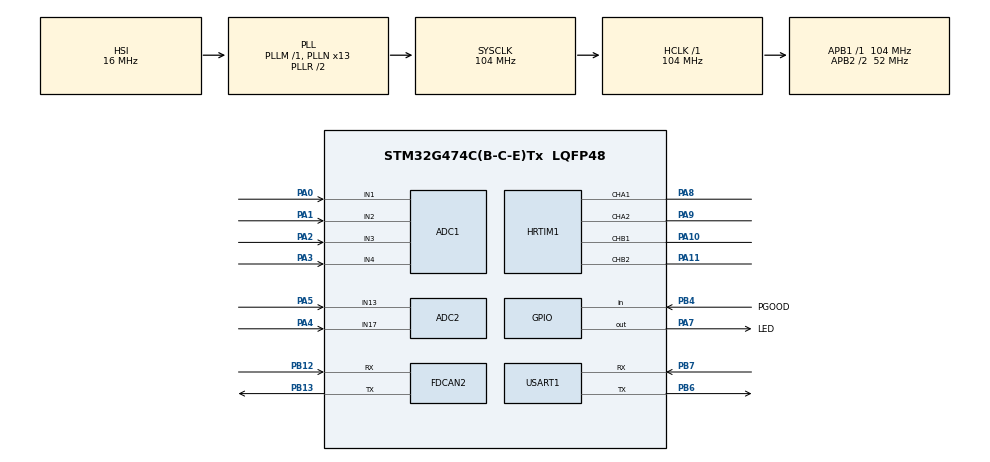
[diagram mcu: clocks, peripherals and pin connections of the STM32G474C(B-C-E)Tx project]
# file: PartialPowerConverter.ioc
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ADC1.Channel-0\#ChannelRegularConversion=ADC_CHANNEL_1
ADC1.Channel-1\#ChannelRegularConversion=ADC_CHANNEL_2
ADC1.Channel-2\#ChannelRegularConversion=ADC_CHANNEL_3
ADC1.Channel-3\#ChannelRegularConversion=ADC_CHANNEL_4
ADC1.Channel-4\#ChannelRegularConversion=ADC_CHANNEL_VREFINT
ADC1.ContinuousConvMode=DISABLE
ADC1.DMAContinuousRequests=ENABLE
ADC1.ExternalTrigConv=ADC_EXTERNALTRIG_T2_TRGO
ADC1.NbrOfConversion=5
ADC1.NbrOfConversionFlag=1
ADC1.OffsetNumber-0\#ChannelRegularConversion=ADC_OFFSET_NONE
ADC1.OffsetNumber-1\#ChannelRegularConversion=ADC_OFFSET_NONE
ADC1.OffsetNumber-2\#ChannelRegularConversion=ADC_OFFSET_NONE
ADC1.OffsetNumber-3\#ChannelRegularConversion=ADC_OFFSET_NONE
ADC1.OffsetNumber-4\#ChannelRegularConversion=ADC_OFFSET_NONE
ADC1.Rank-0\#ChannelRegularConversion=1
ADC1.Rank-1\#ChannelRegularConversion=2
ADC1.Rank-2\#ChannelRegularConversion=3
ADC1.Rank-3\#ChannelRegularConversion=4
ADC1.Rank-4\#ChannelRegularConversion=5
ADC1.SamplingTime-0\#ChannelRegularConversion=ADC_SAMPLETIME_247CYCLES_5
ADC1.SamplingTime-1\#ChannelRegularConversion=ADC_SAMPLETIME_247CYCLES_5
ADC1.SamplingTime-2\#ChannelRegularConversion=ADC_SAMPLETIME_247CYCLES_5
ADC1.SamplingTime-3\#ChannelRegularConversion=ADC_SAMPLETIME_247CYCLES_5
ADC1.SamplingTime-4\#ChannelRegularConversion=ADC_SAMPLETIME_247CYCLES_5
ADC1.master=1
ADC2.Channel-0\#ChannelRegularConversion=ADC_CHANNEL_17
ADC2.Channel-1\#ChannelRegularConversion=ADC_CHANNEL_13
ADC2.ContinuousConvMode=DISABLE
ADC2.DMAContinuousRequests=ENABLE
ADC2.ExternalTrigConv=ADC_EXTERNALTRIG_T2_TRGO
ADC2.NbrOfConversion=2
ADC2.NbrOfConversionFlag=1
ADC2.OffsetNumber-0\#ChannelRegularConversion=ADC_OFFSET_NONE
ADC2.OffsetNumber-1\#ChannelRegularConversion=ADC_OFFSET_NONE
ADC2.Rank-0\#ChannelRegularConversion=1
ADC2.Rank-1\#ChannelRegularConversion=2
ADC2.SamplingTime-0\#ChannelRegularConversion=ADC_SAMPLETIME_247CYCLES_5
ADC2.SamplingTime-1\#ChannelRegularConversion=ADC_SAMPLETIME_247CYCLES_5
Dma.ADC1.0.Direction=DMA_PERIPH_TO_MEMORY
Dma.ADC1.0.EventEnable=DISABLE
Dma.ADC1.0.Instance=DMA1_Channel1
Dma.ADC1.0.MemDataAlignment=DMA_MDATAALIGN_HALFWORD
Dma.ADC1.0.MemInc=DMA_MINC_ENABLE
Dma.ADC1.0.Mode=DMA_CIRCULAR
Dma.ADC1.0.PeriphDataAlignment=DMA_PDATAALIGN_HALFWORD
Dma.ADC1.0.PeriphInc=DMA_PINC_DISABLE
Dma.ADC1.0.Polarity=HAL_DMAMUX_REQ_GEN_RISING
Dma.ADC1.0.Priority=DMA_PRIORITY_LOW
Dma.ADC1.0.RequestNumber=1
Dma.ADC1.0.SignalID=NONE
Dma.ADC1.0.SyncEnable=DISABLE
Dma.ADC1.0.SyncPolarity=HAL_DMAMUX_SYNC_NO_EVENT
Dma.ADC1.0.SyncRequestNumber=1
Dma.ADC1.0.SyncSignalID=NONE
Dma.ADC2.1.Direction=DMA_PERIPH_TO_MEMORY
Dma.ADC2.1.EventEnable=DISABLE
Dma.ADC2.1.Instance=DMA1_Channel2
Dma.ADC2.1.MemDataAlignment=DMA_MDATAALIGN_HALFWORD
Dma.ADC2.1.MemInc=DMA_MINC_ENABLE
Dma.ADC2.1.Mode=DMA_CIRCULAR
Dma.ADC2.1.PeriphDataAlignment=DMA_PDATAALIGN_HALFWORD
Dma.ADC2.1.PeriphInc=DMA_PINC_DISABLE
Dma.ADC2.1.Polarity=HAL_DMAMUX_REQ_GEN_RISING
Dma.ADC2.1.Priority=DMA_PRIORITY_LOW
Dma.ADC2.1.RequestNumber=1
Dma.ADC2.1.SignalID=NONE
Dma.ADC2.1.SyncEnable=DISABLE
Dma.ADC2.1.SyncPolarity=HAL_DMAMUX_SYNC_NO_EVENT
Dma.ADC2.1.SyncRequestNumber=1
Dma.ADC2.1.SyncSignalID=NONE
Dma.Request0=ADC1
Dma.Request1=ADC2
FDCAN2.CalculateBaudRateNominal=500000
FDCAN2.CalculateTimeBitNominal=2000
FDCAN2.CalculateTimeQuantumNominal=500.0
FDCAN2.NominalPrescaler=52
FDCAN2.NominalTimeSeg1=2
FDCAN2.StdFiltersNbr=1
HRTIM1.CompareUnit1-MasterTimer=HRTIM_COMPAREUNIT_1
HRTIM1.CompareUnit1-Output_TA1TA2=HRTIM_COMPAREUNIT_1
HRTIM1.CompareUnit1-Output_TB1TB2=HRTIM_COMPAREUNIT_1
HRTIM1.CompareUnit2-MasterTimer=HRTIM_COMPAREUNIT_2
HRTIM1.CompareValue1-MasterTimer=0xFFDF
HRTIM1.CompareValue2-MasterTimer=0xFFDF
HRTIM1.Configuration_TA=Waveform
HRTIM1.DeadTimeInsertion-Output_TA1TA2=HRTIM_TIMDEADTIMEINSERTION_ENABLED
HRTIM1.DeadTimeInsertion-Output_TB1TB2=HRTIM_TIMDEADTIMEINSERTION_ENABLED
HRTIM1.FallingValue-Output_TA1TA2=90
HRTIM1.FallingValue-Output_TB1TB2=70
HRTIM1.InterleavedMode-Output_TA1TA2=HRTIM_INTERLEAVED_MODE_DUAL
HRTIM1.InterleavedMode-Output_TB1TB2=HRTIM_INTERLEAVED_MODE_DUAL
HRTIM1.NumberResetSource1-Output_TA1TA2=1
HRTIM1.NumberResetSource1-Output_TB1TB2=1
HRTIM1.NumberResetTrigger-Output_TA1TA2=1
HRTIM1.NumberResetTrigger-Output_TB1TB2=1
HRTIM1.NumberSetSource1-Output_TA1TA2=1
HRTIM1.NumberSetSource1-Output_TB1TB2=1
HRTIM1.Periode_MASTER=0x8200
HRTIM1.Periode_TA=0x8200
HRTIM1.Periode_TB=0x8200
HRTIM1.PrescalerRatio_MASTER=HRTIM_PRESCALERRATIO_MUL16
HRTIM1.PrescalerRatio_TA=HRTIM_PRESCALERRATIO_MUL16
HRTIM1.PrescalerRatio_TB=HRTIM_PRESCALERRATIO_MUL16
HRTIM1.ResetOutput1_Source1-Output_TA1TA2=HRTIM_OUTPUTRESET_TIMCMP1
HRTIM1.ResetOutput1_Source1-Output_TB1TB2=HRTIM_OUTPUTRESET_TIMCMP1
HRTIM1.ResetTrigger1-Output_TA1TA2=HRTIM_TIMRESETTRIGGER_MASTER_CMP1
HRTIM1.ResetTrigger1-Output_TB1TB2=HRTIM_TIMRESETTRIGGER_MASTER_CMP2
HRTIM1.RisingValue-Output_TA1TA2=90
HRTIM1.RisingValue-Output_TB1TB2=70
HRTIM1.SetOutput1_Source1-Output_TA1TA2=HRTIM_OUTPUTSET_MASTERCMP1
HRTIM1.SetOutput1_Source1-Output_TB1TB2=HRTIM_OUTPUTSET_MASTERCMP2
Mcu.Family=STM32G4
Mcu.Name=STM32G474C(B-C-E)Tx
Mcu.Package=LQFP48
NVIC.DMA1_Channel1_IRQn=true\:0\:0\:false\:false\:true\:false\:true\:true
NVIC.DMA1_Channel2_IRQn=true\:0\:0\:false\:false\:true\:false\:true\:true
NVIC.FDCAN2_IT0_IRQn=true\:0\:0\:false\:false\:true\:true\:true\:true
NVIC.PriorityGroup=NVIC_PRIORITYGROUP_4
PA0.Mode=IN1-Single-Ended
PA0.Signal=ADC1_IN1
PA1.Mode=IN2-Single-Ended
PA1.Signal=ADC1_IN2
PA10.Mode=Output_TB1TB2
PA10.Signal=HRTIM1_CHB1
PA11.Mode=Output_TB1TB2
PA11.Signal=HRTIM1_CHB2
PA2.Mode=IN3-Single-Ended
PA2.Signal=ADC1_IN3
PA3.Mode=IN4-Single-Ended
PA3.Signal=ADC1_IN4
PA4.Mode=IN17-Single-Ended
PA4.Signal=ADC2_IN17
PA5.Mode=IN13-Single-Ended
PA5.Signal=ADC2_IN13
PA7.GPIO_Label=LED
PA7.Signal=GPIO_Output
PA8.Mode=Output_TA1TA2
PA8.Signal=HRTIM1_CHA1
PA9.Mode=Output_TA1TA2
PA9.Signal=HRTIM1_CHA2
PB12.GPIO_PuPd=GPIO_PULLUP
PB12.Mode=FDCAN_Activate
PB12.Signal=FDCAN2_RX
PB13.Mode=FDCAN_Activate
PB13.Signal=FDCAN2_TX
PB4.GPIO_Label=PGOOD
PB4.Signal=GPIO_Input
PB6.Mode=Asynchronous
PB6.Signal=USART1_TX
PB7.Mode=Asynchronous
PB7.Signal=USART1_RX
ProjectManager.HeapSize=0x200
ProjectManager.StackSize=0x400
ProjectManager.TargetToolchain=STM32CubeIDE
RCC.ADC12Freq_Value=104000000
RCC.ADC345Freq_Value=104000000
RCC.AHBFreq_Value=104000000
RCC.APB1Freq_Value=104000000
RCC.APB1TimFreq_Value=104000000
RCC.APB2CLKDivider=RCC_HCLK_DIV2
RCC.APB2Freq_Value=52000000
RCC.APB2TimFreq_Value=104000000
RCC.CortexFreq_Value=104000000
RCC.EXTERNAL_CLOCK_VALUE=12288000
RCC.HCLKFreq_Value=104000000
RCC.HSE_VALUE=8000000
RCC.HSI48_VALUE=48000000
RCC.HSI_VALUE=16000000
RCC.LSE_VALUE=32768
RCC.PLLN=13
RCC.SYSCLKFreq_VALUE=104000000
RCC.SYSCLKSource=RCC_SYSCLKSOURCE_PLLCLK
RCC.USBFreq_Value=104000000
RCC.VCOOutputFreq_Value=208000000
TIM2.AutoReloadPreload=TIM_AUTORELOAD_PRELOAD_ENABLE
TIM2.PeriodNoDither=104000
TIM2.TIM_MasterOutputTrigger=TIM_TRGO_UPDATE
USART1.VirtualMode-Asynchronous=VM_ASYNC
VP_ADC1_Vref_Input.Mode=IN-Vrefint
VP_HRTIM1_VS_hrtimMasterTimerNoOutput.Mode=MasterTimer
VP_SYS_VS_DBSignals.Mode=DisableDeadBatterySignals
VP_TIM2_VS_ClockSourceINT.Mode=Internal
board=custom

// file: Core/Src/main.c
/* USER CODE BEGIN Header */
/**
  ******************************************************************************
  * @file           : main.c
  * @brief          : Main program body
  ******************************************************************************
  * @attention
  *
  * Copyright (c) 2026 STMicroelectronics.
  * All rights reserved.
  *
  * This software is licensed under terms that can be found in the LICENSE file
  * in the root directory of this software component.
  * If no LICENSE file comes with this software, it is provided AS-IS.
  *
  ******************************************************************************
  */
/* USER CODE END Header */
#include "main.h"

/* USER CODE BEGIN Includes */
#include "PID.h"
#include <stdlib.h>
/* USER CODE END Includes */

/* USER CODE BEGIN PTD */
typedef enum
{
	IDLE,
	STABLE,
	RAMP,
	CHARGING,
	DISCHARGING,
	ERROR_PPC
} States;

typedef struct
{
	float Vbat;
	float Vbus;
	float Ibus;
	float Ibat;
} Measures;

typedef struct {
    float alpha;
    float y_prev;
} Butterworth1stOrder;

typedef union
{
    float f;
    uint8_t b[4];
} FloatBytes;

/* USER CODE END PTD */

/* USER CODE BEGIN PD */
#define VREFINT_CAL_ADDR   ((uint16_t*) ((uint32_t)0x1FFF75AA))
#define Vref_CAL *VREFINT_CAL_ADDR

const int16_t MAX_PHASE = 8300;
const int16_t MIN_PHASE = -8300;

const float VBAT_MAX = 14;
const float VBAT_MIN = 10;
const float IBAT_MAX = 3;
const float VBUS_MAX = 29;
const float IBUS_MAX = 3;

/* USER CODE END PD */

ADC_HandleTypeDef hadc1;
ADC_HandleTypeDef hadc2;
DMA_HandleTypeDef hdma_adc1;
DMA_HandleTypeDef hdma_adc2;

FDCAN_HandleTypeDef hfdcan2;

HRTIM_HandleTypeDef hhrtim1;

TIM_HandleTypeDef htim2;

UART_HandleTypeDef huart1;

/* USER CODE BEGIN PV */
uint16_t AD_RES_BUFFER[5];
uint16_t AD_RES_REF[2];
float Vref = 0;
float Vref1 = 0;
float Vref2 = 0;
float phase_f;
int phase_i = 0;
float Vbus_Setpoint = 22;
int vbatStable =  0;
int vbusStable =  0;
float Pbat = 0;
float Pbus = 0;
float eta = 0;
float Ppri = 0;
float Psec = 0;
float eta_conv = 0;

Measures meas;
PID pid = {500, 50000, 0, 0, 0, 0.0001, MAX_PHASE, MIN_PHASE, 0, 0, 0, 0, 0};

static States currentState = IDLE;
Butterworth1stOrder vbat_filter = {0.0591, 12};
Butterworth1stOrder vbus_filter = {0.0591, 22};
Butterworth1stOrder Pbus_filter = {0.0591, 8};
Butterworth1stOrder Pbat_filter = {0.0591, 8};
Butterworth1stOrder Ppri_filter = {0.0591, 8};
Butterworth1stOrder Psec_filter = {0.0591, 8};

FDCAN_TxHeaderTypeDef   TxHeader;
FDCAN_RxHeaderTypeDef   RxHeader;
uint8_t TxData[4];
uint8_t RxData[12];

/* USER CODE END PV */

void SystemClock_Config(void);
static void MX_GPIO_Init(void);
static void MX_DMA_Init(void);
static void MX_ADC1_Init(void);
static void MX_ADC2_Init(void);
static void MX_FDCAN2_Init(void);
static void MX_HRTIM1_Init(void);
static void MX_USART1_UART_Init(void);
static void MX_TIM2_Init(void);
/* USER CODE BEGIN PFP */
void Error_PPC();
void changeState(States newState);
void enterRamp();
void enterCharging();
void enterDischarging();
static void FDCAN_Config();
/* USER CODE END PFP */

int main(void)
{

  /* MCU Configuration--------------------------------------------------------*/

  /* Reset of all peripherals, Initializes the Flash interface and the Systick. */
  HAL_Init();

  /* Configure the system clock */
  SystemClock_Config();

  /* Initialize all configured peripherals */
  MX_GPIO_Init();
  MX_DMA_Init();
  MX_ADC1_Init();
  MX_ADC2_Init();
  MX_FDCAN2_Init();
  MX_HRTIM1_Init();
  MX_USART1_UART_Init();
  MX_TIM2_Init();
  /* USER CODE BEGIN 2 */

	//Start TIM2 that will trigger ADC
	HAL_TIM_Base_Start(&htim2);

	//ADC calibration function
	HAL_ADCEx_Calibration_Start(&hadc2, ADC_SINGLE_ENDED);
	HAL_ADCEx_Calibration_Start(&hadc1, ADC_SINGLE_ENDED);

	//Starts DMA for ADC conversions
	HAL_ADC_Start_DMA(&hadc2, (uint32_t*)AD_RES_REF, 2);
	HAL_ADC_Start_DMA(&hadc1, (uint32_t*)AD_RES_BUFFER, 5);

  	  //Init timers counter period to run the PWMs at a frequency of 50kHz
	__HAL_HRTIM_SETPERIOD(&hhrtim1, HRTIM_TIMERINDEX_MASTER, 33280);
	__HAL_HRTIM_SETPERIOD(&hhrtim1, HRTIM_TIMERINDEX_TIMER_A, 33280);
	__HAL_HRTIM_SETPERIOD(&hhrtim1, HRTIM_TIMERINDEX_TIMER_B, 33280);

	//Set compare values for PWM
	__HAL_HRTIM_SETCOMPARE( &hhrtim1, HRTIM_TIMERINDEX_MASTER, HRTIM_COMPAREUNIT_1, 8320);
	__HAL_HRTIM_SETCOMPARE( &hhrtim1, HRTIM_TIMERINDEX_MASTER, HRTIM_COMPAREUNIT_2, 8320);

  /* USER CODE END 2 */

  /* Infinite loop */
  /* USER CODE BEGIN WHILE */
  while (1)
  {
	  switch(currentState)
	  {
	  	  case IDLE:
	  		  if(meas.Vbat < VBAT_MAX && meas.Vbat > VBAT_MIN)
	  		  {
	  			  ++vbatStable;
	  		  }
	  		  if(vbatStable >= 30)
	  		  {
	  			  changeState(STABLE);
	  		  }
	  		  break;

	  	  case STABLE:
				  if(meas.Vbus < VBUS_MAX && meas.Vbus > meas.Vbat)
				  {
					  ++vbusStable;
				  }
				  if(vbusStable >= 30)
				  {
					  changeState(RAMP);
				  }
				  break;
	  	  case RAMP:
	  		  if(Vbus_Setpoint < 24)
	  		  {
	  			Vbus_Setpoint += 0.1;
	  		  }
	  		  else
	  		  {
	  			  if(meas.Ibat < 0) changeState(DISCHARGING);
	  			  else changeState(CHARGING);
	  		  }
	  		  break;
	  	  case CHARGING:
	  		if(meas.Ibat < 0) changeState(DISCHARGING);
	  		  break;
	  	  case DISCHARGING:
	  		if(meas.Ibat > 0) changeState(CHARGING);
	  		  break;
	  	  default:
	  		  break;
	  }
	  HAL_Delay(100);
    /* USER CODE END WHILE */

  }
}

void SystemClock_Config(void)
{
  RCC_OscInitTypeDef RCC_OscInitStruct = {0};
  RCC_ClkInitTypeDef RCC_ClkInitStruct = {0};

  /** Configure the main internal regulator output voltage
  */
  HAL_PWREx_ControlVoltageScaling(PWR_REGULATOR_VOLTAGE_SCALE1);

  /** Initializes the RCC Oscillators according to the specified parameters
  * in the RCC_OscInitTypeDef structure.
  */
  RCC_OscInitStruct.OscillatorType = RCC_OSCILLATORTYPE_HSI;
  RCC_OscInitStruct.HSIState = RCC_HSI_ON;
  RCC_OscInitStruct.HSICalibrationValue = RCC_HSICALIBRATION_DEFAULT;
  RCC_OscInitStruct.PLL.PLLState = RCC_PLL_ON;
  RCC_OscInitStruct.PLL.PLLSource = RCC_PLLSOURCE_HSI;
  RCC_OscInitStruct.PLL.PLLM = RCC_PLLM_DIV1;
  RCC_OscInitStruct.PLL.PLLN = 13;
  RCC_OscInitStruct.PLL.PLLP = RCC_PLLP_DIV2;
  RCC_OscInitStruct.PLL.PLLQ = RCC_PLLQ_DIV2;
  RCC_OscInitStruct.PLL.PLLR = RCC_PLLR_DIV2;
  if (HAL_RCC_OscConfig(&RCC_OscInitStruct) != HAL_OK)
  {
    Error_Handler();
  }

  /** Initializes the CPU, AHB and APB buses clocks
  */
  RCC_ClkInitStruct.ClockType = RCC_CLOCKTYPE_HCLK|RCC_CLOCKTYPE_SYSCLK
                              |RCC_CLOCKTYPE_PCLK1|RCC_CLOCKTYPE_PCLK2;
  RCC_ClkInitStruct.SYSCLKSource = RCC_SYSCLKSOURCE_PLLCLK;
  RCC_ClkInitStruct.AHBCLKDivider = RCC_SYSCLK_DIV1;
  RCC_ClkInitStruct.APB1CLKDivider = RCC_HCLK_DIV1;
  RCC_ClkInitStruct.APB2CLKDivider = RCC_HCLK_DIV2;

  if (HAL_RCC_ClockConfig(&RCC_ClkInitStruct, FLASH_LATENCY_3) != HAL_OK)
  {
    Error_Handler();
  }
}

static void MX_ADC1_Init(void)
{

  ADC_MultiModeTypeDef multimode = {0};
  ADC_ChannelConfTypeDef sConfig = {0};

  /** Common config
  */
  hadc1.Instance = ADC1;
  hadc1.Init.ClockPrescaler = ADC_CLOCK_SYNC_PCLK_DIV2;
  hadc1.Init.Resolution = ADC_RESOLUTION_12B;
  hadc1.Init.DataAlign = ADC_DATAALIGN_RIGHT;
  hadc1.Init.GainCompensation = 0;
  hadc1.Init.ScanConvMode = ADC_SCAN_ENABLE;
  hadc1.Init.EOCSelection = ADC_EOC_SINGLE_CONV;
  hadc1.Init.LowPowerAutoWait = DISABLE;
  hadc1.Init.ContinuousConvMode = DISABLE;
  hadc1.Init.NbrOfConversion = 5;
  hadc1.Init.DiscontinuousConvMode = DISABLE;
  hadc1.Init.ExternalTrigConv = ADC_EXTERNALTRIG_T2_TRGO;
  hadc1.Init.ExternalTrigConvEdge = ADC_EXTERNALTRIGCONVEDGE_RISING;
  hadc1.Init.DMAContinuousRequests = ENABLE;
  hadc1.Init.Overrun = ADC_OVR_DATA_PRESERVED;
  hadc1.Init.OversamplingMode = DISABLE;
  if (HAL_ADC_Init(&hadc1) != HAL_OK)
  {
    Error_Handler();
  }

  /** Configure the ADC multi-mode
  */
  multimode.Mode = ADC_MODE_INDEPENDENT;
  if (HAL_ADCEx_MultiModeConfigChannel(&hadc1, &multimode) != HAL_OK)
  {
    Error_Handler();
  }

  /** Configure Regular Channel
  */
  sConfig.Channel = ADC_CHANNEL_1;
  sConfig.Rank = ADC_REGULAR_RANK_1;
  sConfig.SamplingTime = ADC_SAMPLETIME_47CYCLES_5;
  sConfig.SingleDiff = ADC_SINGLE_ENDED;
  sConfig.OffsetNumber = ADC_OFFSET_NONE;
  sConfig.Offset = 0;
  if (HAL_ADC_ConfigChannel(&hadc1, &sConfig) != HAL_OK)
  {
    Error_Handler();
  }

  /** Configure Regular Channel
  */
  sConfig.Channel = ADC_CHANNEL_2;
  sConfig.Rank = ADC_REGULAR_RANK_2;
  if (HAL_ADC_ConfigChannel(&hadc1, &sConfig) != HAL_OK)
  {
    Error_Handler();
  }

  /** Configure Regular Channel
  */
  sConfig.Channel = ADC_CHANNEL_3;
  sConfig.Rank = ADC_REGULAR_RANK_3;
  if (HAL_ADC_ConfigChannel(&hadc1, &sConfig) != HAL_OK)
  {
    Error_Handler();
  }

  /** Configure Regular Channel
  */
  sConfig.Channel = ADC_CHANNEL_4;
  sConfig.Rank = ADC_REGULAR_RANK_4;
  if (HAL_ADC_ConfigChannel(&hadc1, &sConfig) != HAL_OK)
  {
    Error_Handler();
  }

  /** Configure Regular Channel
  */
  sConfig.Channel = ADC_CHANNEL_VREFINT;
  sConfig.Rank = ADC_REGULAR_RANK_5;
  if (HAL_ADC_ConfigChannel(&hadc1, &sConfig) != HAL_OK)
  {
    Error_Handler();
  }

}

static void MX_ADC2_Init(void)
{

  ADC_ChannelConfTypeDef sConfig = {0};

  /** Common config
  */
  hadc2.Instance = ADC2;
  hadc2.Init.ClockPrescaler = ADC_CLOCK_SYNC_PCLK_DIV2;
  hadc2.Init.Resolution = ADC_RESOLUTION_12B;
  hadc2.Init.DataAlign = ADC_DATAALIGN_RIGHT;
  hadc2.Init.GainCompensation = 0;
  hadc2.Init.ScanConvMode = ADC_SCAN_ENABLE;
  hadc2.Init.EOCSelection = ADC_EOC_SINGLE_CONV;
  hadc2.Init.LowPowerAutoWait = DISABLE;
  hadc2.Init.ContinuousConvMode = DISABLE;
  hadc2.Init.NbrOfConversion = 2;
  hadc2.Init.DiscontinuousConvMode = DISABLE;
  hadc2.Init.ExternalTrigConv = ADC_EXTERNALTRIG_T2_TRGO;
  hadc2.Init.ExternalTrigConvEdge = ADC_EXTERNALTRIGCONVEDGE_RISING;
  hadc2.Init.DMAContinuousRequests = ENABLE;
  hadc2.Init.Overrun = ADC_OVR_DATA_PRESERVED;
  hadc2.Init.OversamplingMode = DISABLE;
  if (HAL_ADC_Init(&hadc2) != HAL_OK)
  {
    Error_Handler();
  }

  /** Configure Regular Channel
  */
  sConfig.Channel = ADC_CHANNEL_17;
  sConfig.Rank = ADC_REGULAR_RANK_1;
  sConfig.SamplingTime = ADC_SAMPLETIME_247CYCLES_5;
  sConfig.SingleDiff = ADC_SINGLE_ENDED;
  sConfig.OffsetNumber = ADC_OFFSET_NONE;
  sConfig.Offset = 0;
  if (HAL_ADC_ConfigChannel(&hadc2, &sConfig) != HAL_OK)
  {
    Error_Handler();
  }

  /** Configure Regular Channel
  */
  sConfig.Channel = ADC_CHANNEL_13;
  sConfig.Rank = ADC_REGULAR_RANK_2;
  if (HAL_ADC_ConfigChannel(&hadc2, &sConfig) != HAL_OK)
  {
    Error_Handler();
  }

}

static void MX_FDCAN2_Init(void)
{

  hfdcan2.Instance = FDCAN2;
  hfdcan2.Init.ClockDivider = FDCAN_CLOCK_DIV1;
  hfdcan2.Init.FrameFormat = FDCAN_FRAME_CLASSIC;
  hfdcan2.Init.Mode = FDCAN_MODE_NORMAL;
  hfdcan2.Init.AutoRetransmission = DISABLE;
  hfdcan2.Init.TransmitPause = DISABLE;
  hfdcan2.Init.ProtocolException = DISABLE;
  hfdcan2.Init.NominalPrescaler = 52;
  hfdcan2.Init.NominalSyncJumpWidth = 1;
  hfdcan2.Init.NominalTimeSeg1 = 2;
  hfdcan2.Init.NominalTimeSeg2 = 1;
  hfdcan2.Init.DataPrescaler = 1;
  hfdcan2.Init.DataSyncJumpWidth = 1;
  hfdcan2.Init.DataTimeSeg1 = 1;
  hfdcan2.Init.DataTimeSeg2 = 1;
  hfdcan2.Init.StdFiltersNbr = 1;
  hfdcan2.Init.ExtFiltersNbr = 0;
  hfdcan2.Init.TxFifoQueueMode = FDCAN_TX_FIFO_OPERATION;
  if (HAL_FDCAN_Init(&hfdcan2) != HAL_OK)
  {
    Error_Handler();
  }

}

static void MX_HRTIM1_Init(void)
{

  HRTIM_TimeBaseCfgTypeDef pTimeBaseCfg = {0};
  HRTIM_TimerCfgTypeDef pTimerCfg = {0};
  HRTIM_CompareCfgTypeDef pCompareCfg = {0};
  HRTIM_TimerCtlTypeDef pTimerCtl = {0};
  HRTIM_DeadTimeCfgTypeDef pDeadTimeCfg = {0};
  HRTIM_OutputCfgTypeDef pOutputCfg = {0};

  hhrtim1.Instance = HRTIM1;
  hhrtim1.Init.HRTIMInterruptResquests = HRTIM_IT_NONE;
  hhrtim1.Init.SyncOptions = HRTIM_SYNCOPTION_NONE;
  if (HAL_HRTIM_Init(&hhrtim1) != HAL_OK)
  {
    Error_Handler();
  }
  if (HAL_HRTIM_DLLCalibrationStart(&hhrtim1, HRTIM_CALIBRATIONRATE_3) != HAL_OK)
  {
    Error_Handler();
  }
  if (HAL_HRTIM_PollForDLLCalibration(&hhrtim1, 10) != HAL_OK)
  {
    Error_Handler();
  }
  pTimeBaseCfg.Period = 0x8200;
  pTimeBaseCfg.RepetitionCounter = 0x00;
  pTimeBaseCfg.PrescalerRatio = HRTIM_PRESCALERRATIO_MUL16;
  pTimeBaseCfg.Mode = HRTIM_MODE_CONTINUOUS;
  if (HAL_HRTIM_TimeBaseConfig(&hhrtim1, HRTIM_TIMERINDEX_MASTER, &pTimeBaseCfg) != HAL_OK)
  {
    Error_Handler();
  }
  pTimerCfg.InterruptRequests = HRTIM_MASTER_IT_NONE;
  pTimerCfg.DMARequests = HRTIM_MASTER_DMA_NONE;
  pTimerCfg.DMASrcAddress = 0x0000;
  pTimerCfg.DMADstAddress = 0x0000;
  pTimerCfg.DMASize = 0x1;
  pTimerCfg.HalfModeEnable = HRTIM_HALFMODE_DISABLED;
  pTimerCfg.InterleavedMode = HRTIM_INTERLEAVED_MODE_DISABLED;
  pTimerCfg.StartOnSync = HRTIM_SYNCSTART_DISABLED;
  pTimerCfg.ResetOnSync = HRTIM_SYNCRESET_DISABLED;
  pTimerCfg.DACSynchro = HRTIM_DACSYNC_NONE;
  pTimerCfg.PreloadEnable = HRTIM_PRELOAD_DISABLED;
  pTimerCfg.UpdateGating = HRTIM_UPDATEGATING_INDEPENDENT;
  pTimerCfg.BurstMode = HRTIM_TIMERBURSTMODE_MAINTAINCLOCK;
  pTimerCfg.RepetitionUpdate = HRTIM_UPDATEONREPETITION_DISABLED;
  pTimerCfg.ReSyncUpdate = HRTIM_TIMERESYNC_UPDATE_UNCONDITIONAL;
  if (HAL_HRTIM_WaveformTimerConfig(&hhrtim1, HRTIM_TIMERINDEX_MASTER, &pTimerCfg) != HAL_OK)
  {
    Error_Handler();
  }
  pCompareCfg.CompareValue = 0xFFDF;
  if (HAL_HRTIM_WaveformCompareConfig(&hhrtim1, HRTIM_TIMERINDEX_MASTER, HRTIM_COMPAREUNIT_1, &pCompareCfg) != HAL_OK)
  {
    Error_Handler();
  }
  if (HAL_HRTIM_WaveformCompareConfig(&hhrtim1, HRTIM_TIMERINDEX_MASTER, HRTIM_COMPAREUNIT_2, &pCompareCfg) != HAL_OK)
  {
    Error_Handler();
  }
  if (HAL_HRTIM_TimeBaseConfig(&hhrtim1, HRTIM_TIMERINDEX_TIMER_A, &pTimeBaseCfg) != HAL_OK)
  {
    Error_Handler();
  }
  pTimerCtl.UpDownMode = HRTIM_TIMERUPDOWNMODE_UP;
  pTimerCtl.GreaterCMP1 = HRTIM_TIMERGTCMP1_EQUAL;
  pTimerCtl.DualChannelDacEnable = HRTIM_TIMER_DCDE_DISABLED;
  if (HAL_HRTIM_WaveformTimerControl(&hhrtim1, HRTIM_TIMERINDEX_TIMER_A, &pTimerCtl) != HAL_OK)
  {
    Error_Handler();
  }
  pTimerCfg.InterruptRequests = HRTIM_TIM_IT_NONE;
  pTimerCfg.DMARequests = HRTIM_TIM_DMA_NONE;
  pTimerCfg.InterleavedMode = HRTIM_INTERLEAVED_MODE_DUAL;
  pTimerCfg.PushPull = HRTIM_TIMPUSHPULLMODE_DISABLED;
  pTimerCfg.FaultEnable = HRTIM_TIMFAULTENABLE_NONE;
  pTimerCfg.FaultLock = HRTIM_TIMFAULTLOCK_READWRITE;
  pTimerCfg.DeadTimeInsertion = HRTIM_TIMDEADTIMEINSERTION_ENABLED;
  pTimerCfg.DelayedProtectionMode = HRTIM_TIMER_A_B_C_DELAYEDPROTECTION_DISABLED;
  pTimerCfg.UpdateTrigger = HRTIM_TIMUPDATETRIGGER_NONE;
  pTimerCfg.ResetTrigger = HRTIM_TIMRESETTRIGGER_MASTER_CMP1;
  pTimerCfg.ResetUpdate = HRTIM_TIMUPDATEONRESET_DISABLED;
  if (HAL_HRTIM_WaveformTimerConfig(&hhrtim1, HRTIM_TIMERINDEX_TIMER_A, &pTimerCfg) != HAL_OK)
  {
    Error_Handler();
  }
  pTimerCfg.ResetTrigger = HRTIM_TIMRESETTRIGGER_MASTER_CMP2;
  if (HAL_HRTIM_WaveformTimerConfig(&hhrtim1, HRTIM_TIMERINDEX_TIMER_B, &pTimerCfg) != HAL_OK)
  {
    Error_Handler();
  }
  pDeadTimeCfg.Prescaler = HRTIM_TIMDEADTIME_PRESCALERRATIO_MUL8;
  pDeadTimeCfg.RisingValue = 150;
  pDeadTimeCfg.RisingSign = HRTIM_TIMDEADTIME_RISINGSIGN_POSITIVE;
  pDeadTimeCfg.RisingLock = HRTIM_TIMDEADTIME_RISINGLOCK_WRITE;
  pDeadTimeCfg.RisingSignLock = HRTIM_TIMDEADTIME_RISINGSIGNLOCK_WRITE;
  pDeadTimeCfg.FallingValue = 150;
  pDeadTimeCfg.FallingSign = HRTIM_TIMDEADTIME_FALLINGSIGN_POSITIVE;
  pDeadTimeCfg.FallingLock = HRTIM_TIMDEADTIME_FALLINGLOCK_WRITE;
  pDeadTimeCfg.FallingSignLock = HRTIM_TIMDEADTIME_FALLINGSIGNLOCK_WRITE;
  if (HAL_HRTIM_DeadTimeConfig(&hhrtim1, HRTIM_TIMERINDEX_TIMER_A, &pDeadTimeCfg) != HAL_OK)
  {
    Error_Handler();
  }
  pDeadTimeCfg.RisingValue = 150;
  pDeadTimeCfg.FallingValue = 150;
  if (HAL_HRTIM_DeadTimeConfig(&hhrtim1, HRTIM_TIMERINDEX_TIMER_B, &pDeadTimeCfg) != HAL_OK)
  {
    Error_Handler();
  }
  pOutputCfg.Polarity = HRTIM_OUTPUTPOLARITY_HIGH;
  pOutputCfg.SetSource = HRTIM_OUTPUTSET_MASTERCMP1;
  pOutputCfg.ResetSource = HRTIM_OUTPUTRESET_TIMCMP1;
  pOutputCfg.IdleMode = HRTIM_OUTPUTIDLEMODE_NONE;
  pOutputCfg.IdleLevel = HRTIM_OUTPUTIDLELEVEL_INACTIVE;
  pOutputCfg.FaultLevel = HRTIM_OUTPUTFAULTLEVEL_NONE;
  pOutputCfg.ChopperModeEnable = HRTIM_OUTPUTCHOPPERMODE_DISABLED;
  pOutputCfg.BurstModeEntryDelayed = HRTIM_OUTPUTBURSTMODEENTRY_REGULAR;
  if (HAL_HRTIM_WaveformOutputConfig(&hhrtim1, HRTIM_TIMERINDEX_TIMER_A, HRTIM_OUTPUT_TA1, &pOutputCfg) != HAL_OK)
  {
    Error_Handler();
  }
  pOutputCfg.SetSource = HRTIM_OUTPUTSET_MASTERCMP2;
  if (HAL_HRTIM_WaveformOutputConfig(&hhrtim1, HRTIM_TIMERINDEX_TIMER_B, HRTIM_OUTPUT_TB1, &pOutputCfg) != HAL_OK)
  {
    Error_Handler();
  }
  pOutputCfg.SetSource = HRTIM_OUTPUTSET_NONE;
  pOutputCfg.ResetSource = HRTIM_OUTPUTRESET_NONE;
  if (HAL_HRTIM_WaveformOutputConfig(&hhrtim1, HRTIM_TIMERINDEX_TIMER_A, HRTIM_OUTPUT_TA2, &pOutputCfg) != HAL_OK)
  {
    Error_Handler();
  }
  if (HAL_HRTIM_WaveformOutputConfig(&hhrtim1, HRTIM_TIMERINDEX_TIMER_B, HRTIM_OUTPUT_TB2, &pOutputCfg) != HAL_OK)
  {
    Error_Handler();
  }
  if (HAL_HRTIM_TimeBaseConfig(&hhrtim1, HRTIM_TIMERINDEX_TIMER_B, &pTimeBaseCfg) != HAL_OK)
  {
    Error_Handler();
  }
  if (HAL_HRTIM_WaveformTimerControl(&hhrtim1, HRTIM_TIMERINDEX_TIMER_B, &pTimerCtl) != HAL_OK)
  {
    Error_Handler();
  }
  HAL_HRTIM_MspPostInit(&hhrtim1);

}

static void MX_TIM2_Init(void)
{

  TIM_ClockConfigTypeDef sClockSourceConfig = {0};
  TIM_MasterConfigTypeDef sMasterConfig = {0};

  htim2.Instance = TIM2;
  htim2.Init.Prescaler = 0;
  htim2.Init.CounterMode = TIM_COUNTERMODE_UP;
  htim2.Init.Period = 10400;
  htim2.Init.ClockDivision = TIM_CLOCKDIVISION_DIV1;
  htim2.Init.AutoReloadPreload = TIM_AUTORELOAD_PRELOAD_ENABLE;
  if (HAL_TIM_Base_Init(&htim2) != HAL_OK)
  {
    Error_Handler();
  }
  sClockSourceConfig.ClockSource = TIM_CLOCKSOURCE_INTERNAL;
  if (HAL_TIM_ConfigClockSource(&htim2, &sClockSourceConfig) != HAL_OK)
  {
    Error_Handler();
  }
  sMasterConfig.MasterOutputTrigger = TIM_TRGO_UPDATE;
  sMasterConfig.MasterSlaveMode = TIM_MASTERSLAVEMODE_DISABLE;
  if (HAL_TIMEx_MasterConfigSynchronization(&htim2, &sMasterConfig) != HAL_OK)
  {
    Error_Handler();
  }

}

static void MX_USART1_UART_Init(void)
{

  huart1.Instance = USART1;
  huart1.Init.BaudRate = 115200;
  huart1.Init.WordLength = UART_WORDLENGTH_8B;
  huart1.Init.StopBits = UART_STOPBITS_1;
  huart1.Init.Parity = UART_PARITY_NONE;
  huart1.Init.Mode = UART_MODE_TX_RX;
  huart1.Init.HwFlowCtl = UART_HWCONTROL_NONE;
  huart1.Init.OverSampling = UART_OVERSAMPLING_16;
  huart1.Init.OneBitSampling = UART_ONE_BIT_SAMPLE_DISABLE;
  huart1.Init.ClockPrescaler = UART_PRESCALER_DIV1;
  huart1.AdvancedInit.AdvFeatureInit = UART_ADVFEATURE_NO_INIT;
  if (HAL_UART_Init(&huart1) != HAL_OK)
  {
    Error_Handler();
  }
  if (HAL_UARTEx_SetTxFifoThreshold(&huart1, UART_TXFIFO_THRESHOLD_1_8) != HAL_OK)
  {
    Error_Handler();
  }
  if (HAL_UARTEx_SetRxFifoThreshold(&huart1, UART_RXFIFO_THRESHOLD_1_8) != HAL_OK)
  {
    Error_Handler();
  }
  if (HAL_UARTEx_DisableFifoMode(&huart1) != HAL_OK)
  {
    Error_Handler();
  }

}

static void MX_DMA_Init(void)
{

  /* DMA controller clock enable */
  __HAL_RCC_DMAMUX1_CLK_ENABLE();
  __HAL_RCC_DMA1_CLK_ENABLE();

  /* DMA interrupt init */
  /* DMA1_Channel1_IRQn interrupt configuration */
  HAL_NVIC_SetPriority(DMA1_Channel1_IRQn, 0, 0);
  HAL_NVIC_EnableIRQ(DMA1_Channel1_IRQn);
  /* DMA1_Channel2_IRQn interrupt configuration */
  HAL_NVIC_SetPriority(DMA1_Channel2_IRQn, 0, 0);
  HAL_NVIC_EnableIRQ(DMA1_Channel2_IRQn);

}

static void MX_GPIO_Init(void)
{
  GPIO_InitTypeDef GPIO_InitStruct = {0};

  /* GPIO Ports Clock Enable */
  __HAL_RCC_GPIOA_CLK_ENABLE();
  __HAL_RCC_GPIOB_CLK_ENABLE();

  /*Configure GPIO pin Output Level */
  HAL_GPIO_WritePin(LED_GPIO_Port, LED_Pin, GPIO_PIN_RESET);

  /*Configure GPIO pin : LED_Pin */
  GPIO_InitStruct.Pin = LED_Pin;
  GPIO_InitStruct.Mode = GPIO_MODE_OUTPUT_PP;
  GPIO_InitStruct.Pull = GPIO_NOPULL;
  GPIO_InitStruct.Speed = GPIO_SPEED_FREQ_LOW;
  HAL_GPIO_Init(LED_GPIO_Port, &GPIO_InitStruct);

  /*Configure GPIO pin : PGOOD_Pin */
  GPIO_InitStruct.Pin = PGOOD_Pin;
  GPIO_InitStruct.Mode = GPIO_MODE_INPUT;
  GPIO_InitStruct.Pull = GPIO_NOPULL;
  HAL_GPIO_Init(PGOOD_GPIO_Port, &GPIO_InitStruct);

}

/* USER CODE BEGIN 4 */

/**
  * @brief ADC Callback, runs the Vbus voltage control
  * @param hadc: ADC Handler
  * @retval None
  */
void HAL_ADC_ConvCpltCallback(ADC_HandleTypeDef* hadc)
{
   if(hadc == &hadc1)
   {
	   //HAL_GPIO_TogglePin(LED_GPIO_Port, LED_Pin);
	   Vref = 3.3*Vref_CAL/AD_RES_BUFFER[4];
	   float VBAT_F = (float)AD_RES_BUFFER[1];
	   float VBUS_F = (float)AD_RES_BUFFER[3];
	   float IBAT_F = (float)AD_RES_BUFFER[0];
	   float IBUS_F = (float)AD_RES_BUFFER[2];

	   meas.Vbat = VBAT_F/4096 * 5 * 3.3; // RAW/2^12 * 3.3 * 5
	   meas.Vbat = vbat_filter.alpha * meas.Vbat + (1.0f - vbat_filter.alpha) * vbat_filter.y_prev;
	   vbat_filter.y_prev = meas.Vbat;
	   meas.Vbus = VBUS_F/4096 * 11 * 3.3; // RAW/2^12 * 3.3 * 11
	   meas.Vbus = vbus_filter.alpha * meas.Vbus + (1.0f - vbus_filter.alpha) * vbus_filter.y_prev;
	   vbus_filter.y_prev = meas.Vbus;
	   if(Vref1 == 0)
	   {
		   meas.Ibat = 0;
	   }
	   else
	   {
		   meas.Ibat = ((IBAT_F/4096 * 3.3) - Vref1)*2; // ((RAW/2^12 * 3.3) - 1.67) / (0.005 * 100)
	   }

	   if(Vref2 == 0)
	   {
		   meas.Ibus = 0;
	   }
	   else
	   {
		   meas.Ibus = ((IBUS_F/4096 * 3.3) - Vref2)*2; // ((RAW/2^12 * 3.3) - 1.67) / (0.005 * 100)
	   }

		if(meas.Vbat > VBAT_MAX || meas.Vbat < VBAT_MIN ||\
				meas.Ibat > IBAT_MAX ||\
				meas.Vbus > VBUS_MAX ||\
				meas.Ibus > IBUS_MAX)
		{
			changeState(ERROR_PPC);
		}
		else
		{
			if((currentState != IDLE) && (currentState != STABLE))
			{
				phase_f = PID_Step(&pid, meas.Vbus, Vbus_Setpoint);
				phase_i = (int) phase_f;

				if(currentState == CHARGING)
				{
					__HAL_HRTIM_SETCOMPARE( &hhrtim1, HRTIM_TIMERINDEX_MASTER, HRTIM_COMPAREUNIT_2, 8320 - phase_i);
				}
				else
				{
					__HAL_HRTIM_SETCOMPARE( &hhrtim1, HRTIM_TIMERINDEX_MASTER, HRTIM_COMPAREUNIT_2, 8320 + phase_i);
				}
			}
			float Ibat_mod = fabs(meas.Ibat);
			float Ibus_mod = fabs(meas.Ibus);
			Pbat = meas.Vbat * Ibat_mod;
			Pbat = Pbat_filter.alpha * Pbat + (1.0f - Pbat_filter.alpha) * Pbat_filter.y_prev;
		    Pbat_filter.y_prev = Pbat;
			Pbus = meas.Vbus * Ibus_mod;
			Pbus = Pbus_filter.alpha * Pbus + (1.0f - Pbus_filter.alpha) * Pbus_filter.y_prev;
			Pbus_filter.y_prev = Pbus;
			eta = Pbus/Pbat;

			Ppri = meas.Vbat * (Ibat_mod - Ibus_mod);
			Ppri = Ppri_filter.alpha * Ppri + (1.0f - Ppri_filter.alpha) * Ppri_filter.y_prev;
			Ppri_filter.y_prev = Ppri;
			Psec = (meas.Vbus - meas.Vbat) * Ibus_mod;
			Psec = Psec_filter.alpha * Psec + (1.0f - Psec_filter.alpha) * Psec_filter.y_prev;
			Psec_filter.y_prev = Psec;
			eta_conv = Psec/Ppri;
		}
		//HAL_GPIO_TogglePin(LED_GPIO_Port, LED_Pin);

   }
   else if (hadc == &hadc2)
   {
	   float VREF1_F = (float)AD_RES_REF[0];
	   float VREF2_F = (float)AD_RES_REF[1];
	   Vref1 = VREF1_F/4096 * 3.3;
	   Vref2 = VREF2_F/4096 * 3.3;
   }
}

/**
  * @brief Function used to change the state of FSM
  * @param newState: New state
  * @retval None
  */
void changeState(States newState)
{
	if(newState == currentState){
		return;
	}

	//Update currentState value
	currentState = newState;

	switch(currentState)
	{
	  case IDLE:
		  break;
	  case STABLE:
		  /* Start HRTIM counter and enable PWMs*/
		  HAL_HRTIM_WaveformCountStart(&hhrtim1,HRTIM_TIMERID_MASTER|HRTIM_TIMERID_TIMER_A|HRTIM_TIMERID_TIMER_B);
		  HAL_HRTIM_WaveformOutputStart(&hhrtim1, HRTIM_OUTPUT_TA1 | HRTIM_OUTPUT_TA2|HRTIM_OUTPUT_TB1 | HRTIM_OUTPUT_TB2);
		  break;
	  case RAMP:
		  //Initiate FDCAN communication
		  FDCAN_Config();
		  break;
	  case CHARGING:
		  break;
	  case DISCHARGING:
		  break;
	  case ERROR_PPC:
		  HAL_HRTIM_WaveformCountStop(&hhrtim1, HRTIM_TIMERID_MASTER|HRTIM_TIMERID_TIMER_A|HRTIM_TIMERID_TIMER_B);
		  HAL_TIM_Base_Stop(&htim2);
		  Error_PPC();
		  break;
	  default:
		  break;
	}
}

/**
  * @brief FDCAN callback, used for retrieve VBUS setpoint from master and send Vbat values for balancing control
  * @param hfdcan: FDCAN handler
  * @param RxFifo0ITs:
  * @retval None
  */
void HAL_FDCAN_RxFifo0Callback(FDCAN_HandleTypeDef *hfdcan, uint32_t RxFifo0ITs)
{
	if((RxFifo0ITs & FDCAN_IT_RX_FIFO0_NEW_MESSAGE) != RESET)
	{
		/* Retreive Rx messages from RX FIFO1 */
		if (HAL_FDCAN_GetRxMessage(hfdcan, FDCAN_RX_FIFO0, &RxHeader, RxData) != HAL_OK)
		{
			/* Reception Error */
			Error_Handler();
		}

		if(RxHeader.RxFrameType == FDCAN_REMOTE_FRAME) //Master request Vbat value
		{
			FloatBytes data;
			data.f = meas.Vbat;
			TxData[0] = data.b[0];
			TxData[1] = data.b[1];
			TxData[2] = data.b[2];
			TxData[3] = data.b[3];
			if (HAL_FDCAN_AddMessageToTxFifoQ(&hfdcan2, &TxHeader, TxData)!= HAL_OK)
			{
				Error_Handler();
			}
		}
		else if(RxHeader.RxFrameType == FDCAN_DATA_FRAME) //Master sends a new Vbus setpoint
		{
			FloatBytes data;
			data.b[0] = RxData[0];
			data.b[1] = RxData[1];
			data.b[2] = RxData[2];
			data.b[3] = RxData[3];
			Vbus_Setpoint = data.f;
		}

	}
}

/**
  * @brief Function to configure the FDCAN communication
  * @param None
  * @retval None
  */
static void FDCAN_Config()
{
	FDCAN_FilterTypeDef sFilterConfig;

	sFilterConfig.IdType = FDCAN_STANDARD_ID;
	sFilterConfig.FilterIndex = 0;
	sFilterConfig.FilterType = FDCAN_FILTER_DUAL;
	sFilterConfig.FilterConfig = FDCAN_FILTER_TO_RXFIFO0;
	sFilterConfig.FilterID1 = 0x01;
	sFilterConfig.FilterID2 = 0x02;
	if (HAL_FDCAN_ConfigFilter(&hfdcan2, &sFilterConfig) != HAL_OK)
	{
	  /* Filter configuration Error */
	  Error_Handler();
	}

	if (HAL_FDCAN_ConfigGlobalFilter(&hfdcan2,
									  FDCAN_FILTER_REMOTE,      // NonMatchingStd: Rejeita Standard IDs que não casarem
									  FDCAN_FILTER_REMOTE,      // NonMatchingExt: Rejeita Extended IDs que não casarem
									  FDCAN_FILTER_REMOTE, // Rejeita ou aceita Remote Frames STD
									  FDCAN_FILTER_REMOTE) // Rejeita ou aceita Remote Frames EXT
		!= HAL_OK)
	{
		Error_Handler();
	}

	if(HAL_FDCAN_Start(&hfdcan2)!= HAL_OK)
	{
	 Error_Handler();
	}

	if (HAL_FDCAN_ActivateNotification(&hfdcan2, FDCAN_IT_RX_FIFO0_NEW_MESSAGE, 0) != HAL_OK)
	{
		Error_Handler();
	}

	// Configure TX Header for FDCAN1
	TxHeader.Identifier = 0x10;
	TxHeader.IdType = FDCAN_STANDARD_ID;
	TxHeader.TxFrameType = FDCAN_DATA_FRAME;
	TxHeader.DataLength = FDCAN_DLC_BYTES_4;
	TxHeader.ErrorStateIndicator = FDCAN_ESI_ACTIVE;
	TxHeader.BitRateSwitch = FDCAN_BRS_OFF;
	TxHeader.FDFormat = FDCAN_CLASSIC_CAN;
	TxHeader.TxEventFifoControl = FDCAN_NO_TX_EVENTS;
	TxHeader.MessageMarker = 0;
}

/**
  * @brief Error function to indicate that an error happened during functioning
  * @param None
  * @retval None
  */
void Error_PPC()
{
	while(1)
	{
		HAL_GPIO_TogglePin(LED_GPIO_Port, LED_Pin);
		// Delay simples sem interrupção (~300ms dependendo do clock)
		for(volatile uint32_t i = 0; i < 1000000; i++) {
			__NOP();
		}
	}
}

/* USER CODE END 4 */

void Error_Handler(void)
{
  __disable_irq();
  while (1)
  {
  }
}
